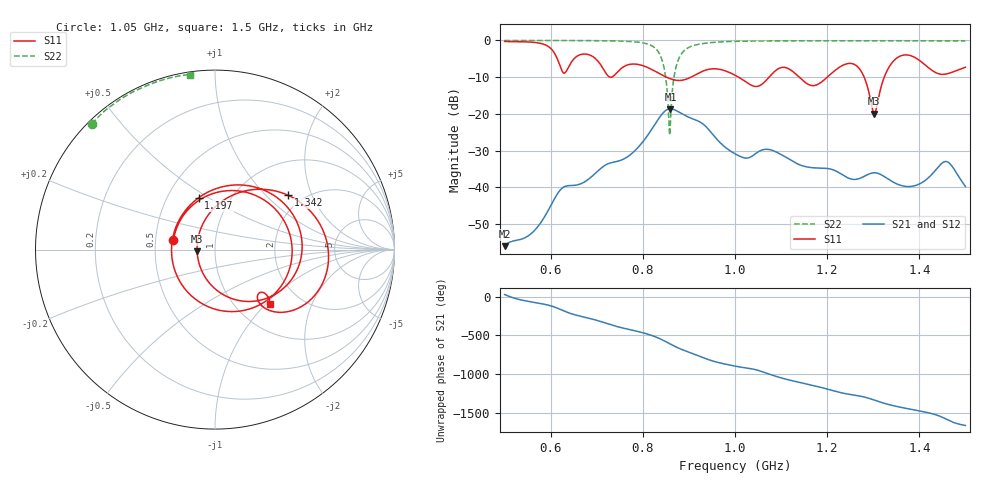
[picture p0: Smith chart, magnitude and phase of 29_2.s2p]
! TOUCHSTONE file generated by CST MICROWAVE STUDIO
! Date and time: Mon Nov 30 09:10:26 2020
! Project name: Scenario_1_Planar_Body_Tissue_Out_of_Line_v2.cst
! Parameters = {dy1=138.4; L_HA=400; Ltissue=700; MT=2.54; Rad_Dielectric=30; Rad_Lower=7.3; Rad_Upper=30; Wtissue=700; a_HA=580; a_WG=246; b_HA=500; b_WG=121; c_HA=0; c_WG=187; d_feed=85; dx1=346; h_feed=15; h_lower=18; h_upper=40; hfat=3; hgap=25; hmuscle=50; hskin=1.5}
! Header version: 2018
! Port assignment regex: !\s*Touchstone port\s*([0-9]+)\s*=\s*(CST MWS port|CST DS port)\s*([0-9]+|Zmin|Zmax)\s*\(\"(.*)\"\)(\s*mode\s*([0-9]+))?.*
! Touchstone port assignment:
! Touchstone port 1 = CST MWS port 1 ("")
! Touchstone port 2 = CST MWS port 2 ("")
# GHz S DB R 50
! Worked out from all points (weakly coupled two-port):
!   1003 points, 500 MHz to 1.5 GHz, reference 50 ohm
!   highest |S21| = -18.65 dB at 860 MHz (marker M1); lowest = -56.1 dB at 500 MHz (marker M2)
!   lowest |S11| = -20.0 dB at 1.302 GHz (marker M3), VSWR 1.22, Z = 40.9 - j0.702 ohm
!   |S11| at or under -10 dB: 850.9 MHz to 904.6 MHz (53.77 MHz wide, 6.13 % of centre); 1.008 GHz to 1.074 GHz (66.53 MHz wide, 6.39 % of centre); 1.139 GHz to 1.2 GHz (61.14 MHz wide, 5.23 % of centre) (the widest 3 of 5)
!   |S22| runs from -25.9 to 0.0 dB; largest |S21 - S12| = 3.4e-06
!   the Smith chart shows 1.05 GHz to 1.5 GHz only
!   S11 on the Smith chart (normalised r, x): 1.05 GHz: 0.62, +0.07; 1.197 GHz: 0.71, +0.45; 1.342 GHz: 1.67, +1.37; 1.5 GHz: 1.42, -1.06
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0.5  -0.27 -121.8  -56.07 26.9  -56.07 26.9  -0.01 151.1
0.578  -0.80 -165.2  -49.75 -88.8  -49.75 -88.8  -0.02 145.8
0.667  -3.79 158.2  -38.98 102.9  -38.98 102.9  -0.04 138.4
0.696  -4.83 101.1  -36.32 60.0  -36.32 60.0  -0.06 135.3
0.718  -8.57 24.3  -34.03 19.4  -34.03 19.4  -0.09 132.6
0.742  -9.00 -98.4  -33.03 -24.8  -33.03 -24.8  -0.14 129.0
0.77  -6.57 176.8  -31.42 -64.3  -31.42 -64.3  -0.27 123.2
0.834  -8.92 38.4  -21.38 -176.9  -21.38 -176.9  -3.21 84.3
0.86  -10.46 -28.3  -18.65 103.7  -18.65 103.7  -21.88 -103.6
0.889  -10.75 -115.4  -20.29 25.4  -20.29 25.4  -2.88 177.6
0.941  -7.92 85.5  -24.03 -92.6  -24.03 -92.6  -0.68 151.4
1  -9.47 -56.6  -30.90 -179.3  -30.90 -179.3  -0.25 140.4
1.05  -12.48 167.6  -30.40 125.6  -30.40 125.6  -0.17 134.4
1.104  -7.33 -2.9  -31.38 21.6  -31.38 21.6  -0.12 129.4
1.167  -12.30 -175.7  -34.68 -67.1  -34.68 -67.1  -0.10 124.2
1.197  -10.37 107.5  -34.85 -111.2  -34.85 -111.2  -0.09 121.9
1.251  -6.27 2.9  -37.74 172.5  -37.74 172.5  -0.08 117.8
1.302  -20.00 -175.1  -36.07 102.2  -36.07 102.2  -0.09 114.0
1.334  -7.32 51.3  -37.91 42.6  -37.91 42.6  -0.09 111.6
1.342  -5.90 36.7  -38.52 30.7  -38.52 30.7  -0.09 111.0
1.396  -5.07 -36.8  -39.35 -34.4  -39.35 -34.4  -0.09 106.7
1.5  -7.31 -44.7  -39.79 132.7  -39.79 132.7  -0.13 98.1
